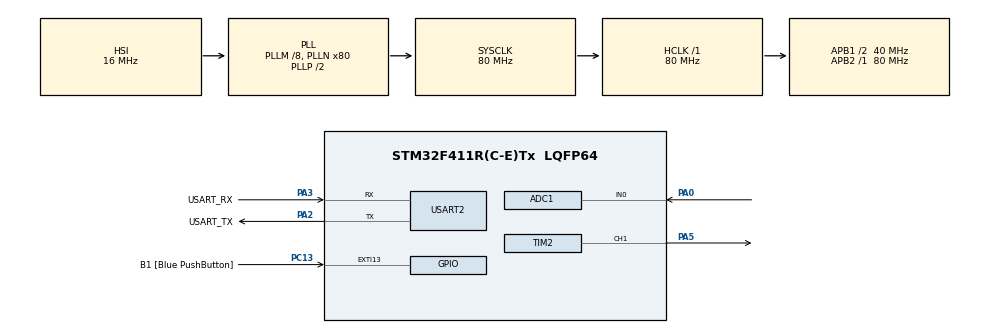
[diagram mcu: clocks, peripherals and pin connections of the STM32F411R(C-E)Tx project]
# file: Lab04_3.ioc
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ADC1.Channel-0\#ChannelRegularConversion=ADC_CHANNEL_0
ADC1.NbrOfConversionFlag=1
ADC1.Rank-0\#ChannelRegularConversion=1
ADC1.SamplingTime-0\#ChannelRegularConversion=ADC_SAMPLETIME_3CYCLES
ADC1.master=1
Mcu.Family=STM32F4
Mcu.Name=STM32F411R(C-E)Tx
Mcu.Package=LQFP64
NVIC.PriorityGroup=NVIC_PRIORITYGROUP_0
PA0-WKUP.Signal=ADCx_IN0
PA13.GPIO_Label=TMS
PA13.Mode=Serial_Wire
PA13.Signal=SYS_JTMS-SWDIO
PA14.GPIO_Label=TCK
PA14.Mode=Serial_Wire
PA14.Signal=SYS_JTCK-SWCLK
PA2.GPIO_Label=USART_TX
PA2.Mode=Asynchronous
PA2.Signal=USART2_TX
PA3.GPIO_Label=USART_RX
PA3.Mode=Asynchronous
PA3.Signal=USART2_RX
PA5.Signal=S_TIM2_CH1_ETR
PB3.GPIO_Label=SWO
PB3.Signal=SYS_JTDO-SWO
PC13-ANTI_TAMP.GPIO_Label=B1 [Blue PushButton]
PC13-ANTI_TAMP.GPIO_ModeDefaultEXTI=GPIO_MODE_IT_FALLING
PC13-ANTI_TAMP.Signal=GPXTI13
PC14-OSC32_IN.Mode=LSE-External-Oscillator
PC14-OSC32_IN.Signal=RCC_OSC32_IN
PC15-OSC32_OUT.Mode=LSE-External-Oscillator
PC15-OSC32_OUT.Signal=RCC_OSC32_OUT
PH0\ -\ OSC_IN.Mode=HSE-External-Clock-Source
PH0\ -\ OSC_IN.Signal=RCC_OSC_IN
PH1\ -\ OSC_OUT.Mode=HSE-External-Clock-Source
PH1\ -\ OSC_OUT.Signal=RCC_OSC_OUT
ProjectManager.HeapSize=0x200
ProjectManager.StackSize=0x400
ProjectManager.TargetToolchain=STM32CubeIDE
RCC.48MHZClocksFreq_Value=40000000
RCC.AHBFreq_Value=80000000
RCC.APB1CLKDivider=RCC_HCLK_DIV2
RCC.APB1Freq_Value=40000000
RCC.APB1TimFreq_Value=80000000
RCC.APB2Freq_Value=80000000
RCC.APB2TimFreq_Value=80000000
RCC.CortexFreq_Value=80000000
RCC.FLatency-AdvancedSettings=FLASH_LATENCY_2
RCC.HCLKFreq_Value=80000000
RCC.HSE_VALUE=8000000
RCC.HSI_VALUE=16000000
RCC.PLLM=8
RCC.PLLN=80
RCC.SYSCLKFreq_VALUE=80000000
RCC.SYSCLKSource=RCC_SYSCLKSOURCE_PLLCLK
RCC.VCOOutputFreq_Value=160000000
SH.ADCx_IN0.0=ADC1_IN0,IN0
SH.S_TIM2_CH1_ETR.0=TIM2_CH1,PWM Generation1 CH1
TIM2.AutoReloadPreload=TIM_AUTORELOAD_PRELOAD_ENABLE
TIM2.Channel-PWM\ Generation1\ CH1=TIM_CHANNEL_1
TIM2.Period=799
TIM2.Prescaler=999
USART2.VirtualMode=VM_ASYNC
VP_TIM2_VS_ClockSourceINT.Mode=Internal
board=NUCLEO-F411RE

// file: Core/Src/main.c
/* USER CODE BEGIN Header */
/**
  ******************************************************************************
  * @file           : main.c
  * @brief          : Main program body
  ******************************************************************************
  * @attention
  *
  * Copyright (c) 2023 STMicroelectronics.
  * All rights reserved.
  *
  * This software is licensed under terms that can be found in the LICENSE file
  * in the root directory of this software component.
  * If no LICENSE file comes with this software, it is provided AS-IS.
  *
  ******************************************************************************
  */
/* USER CODE END Header */
#include "main.h"

ADC_HandleTypeDef hadc1;

TIM_HandleTypeDef htim2;

UART_HandleTypeDef huart2;

void SystemClock_Config(void);
static void MX_GPIO_Init(void);
static void MX_USART2_UART_Init(void);
static void MX_ADC1_Init(void);
static void MX_TIM2_Init(void);

int main(void)
{

  /* MCU Configuration--------------------------------------------------------*/

  /* Reset of all peripherals, Initializes the Flash interface and the Systick. */
  HAL_Init();

  /* Configure the system clock */
  SystemClock_Config();

  /* Initialize all configured peripherals */
  MX_GPIO_Init();
  MX_USART2_UART_Init();
  MX_ADC1_Init();
  MX_TIM2_Init();
  /* USER CODE BEGIN 2 */
  HAL_TIM_PWM_Start(&htim2, TIM_CHANNEL_1);

  int MAX_VAL = 3400;
  int MIN_VAL = 1800;
  int CURR_VAL = 0;
  int PDC = 0;
  int CCR = 0;
  /* USER CODE END 2 */

  /* Infinite loop */
  while (1)
  {

    /* USER CODE BEGIN 3 */
	  HAL_ADC_Start(&hadc1);

	  if (HAL_ADC_PollForConversion(&hadc1, 1000) == HAL_OK) {
		  CURR_VAL = HAL_ADC_GetValue(&hadc1);

		  float C = MAX_VAL - CURR_VAL;
		  float P = MAX_VAL - MIN_VAL;

		  PDC = (1 - (C / P)) * 100;

		  CCR = PDC * 799 / 100;

		  char text[50];

		  sprintf(text, "curr_val_text: %d\t pdc_val_text: %d\r\n", CURR_VAL, PDC);

		  HAL_UART_Transmit(&huart2, text, sizeof(text), 200);

		  TIM2->CCR1 = CCR;
	  }
  }
  /* USER CODE END 3 */
}

void SystemClock_Config(void)
{
  RCC_OscInitTypeDef RCC_OscInitStruct = {0};
  RCC_ClkInitTypeDef RCC_ClkInitStruct = {0};

  /** Configure the main internal regulator output voltage
  */
  __HAL_RCC_PWR_CLK_ENABLE();
  __HAL_PWR_VOLTAGESCALING_CONFIG(PWR_REGULATOR_VOLTAGE_SCALE1);

  /** Initializes the RCC Oscillators according to the specified parameters
  * in the RCC_OscInitTypeDef structure.
  */
  RCC_OscInitStruct.OscillatorType = RCC_OSCILLATORTYPE_HSI;
  RCC_OscInitStruct.HSIState = RCC_HSI_ON;
  RCC_OscInitStruct.HSICalibrationValue = RCC_HSICALIBRATION_DEFAULT;
  RCC_OscInitStruct.PLL.PLLState = RCC_PLL_ON;
  RCC_OscInitStruct.PLL.PLLSource = RCC_PLLSOURCE_HSI;
  RCC_OscInitStruct.PLL.PLLM = 8;
  RCC_OscInitStruct.PLL.PLLN = 80;
  RCC_OscInitStruct.PLL.PLLP = RCC_PLLP_DIV2;
  RCC_OscInitStruct.PLL.PLLQ = 4;
  if (HAL_RCC_OscConfig(&RCC_OscInitStruct) != HAL_OK)
  {
    Error_Handler();
  }

  /** Initializes the CPU, AHB and APB buses clocks
  */
  RCC_ClkInitStruct.ClockType = RCC_CLOCKTYPE_HCLK|RCC_CLOCKTYPE_SYSCLK
                              |RCC_CLOCKTYPE_PCLK1|RCC_CLOCKTYPE_PCLK2;
  RCC_ClkInitStruct.SYSCLKSource = RCC_SYSCLKSOURCE_PLLCLK;
  RCC_ClkInitStruct.AHBCLKDivider = RCC_SYSCLK_DIV1;
  RCC_ClkInitStruct.APB1CLKDivider = RCC_HCLK_DIV2;
  RCC_ClkInitStruct.APB2CLKDivider = RCC_HCLK_DIV1;

  if (HAL_RCC_ClockConfig(&RCC_ClkInitStruct, FLASH_LATENCY_2) != HAL_OK)
  {
    Error_Handler();
  }
}

static void MX_ADC1_Init(void)
{

  ADC_ChannelConfTypeDef sConfig = {0};

  /** Configure the global features of the ADC (Clock, Resolution, Data Alignment and number of conversion)
  */
  hadc1.Instance = ADC1;
  hadc1.Init.ClockPrescaler = ADC_CLOCK_SYNC_PCLK_DIV4;
  hadc1.Init.Resolution = ADC_RESOLUTION_12B;
  hadc1.Init.ScanConvMode = DISABLE;
  hadc1.Init.ContinuousConvMode = DISABLE;
  hadc1.Init.DiscontinuousConvMode = DISABLE;
  hadc1.Init.ExternalTrigConvEdge = ADC_EXTERNALTRIGCONVEDGE_NONE;
  hadc1.Init.ExternalTrigConv = ADC_SOFTWARE_START;
  hadc1.Init.DataAlign = ADC_DATAALIGN_RIGHT;
  hadc1.Init.NbrOfConversion = 1;
  hadc1.Init.DMAContinuousRequests = DISABLE;
  hadc1.Init.EOCSelection = ADC_EOC_SINGLE_CONV;
  if (HAL_ADC_Init(&hadc1) != HAL_OK)
  {
    Error_Handler();
  }

  /** Configure for the selected ADC regular channel its corresponding rank in the sequencer and its sample time.
  */
  sConfig.Channel = ADC_CHANNEL_0;
  sConfig.Rank = 1;
  sConfig.SamplingTime = ADC_SAMPLETIME_3CYCLES;
  if (HAL_ADC_ConfigChannel(&hadc1, &sConfig) != HAL_OK)
  {
    Error_Handler();
  }

}

static void MX_TIM2_Init(void)
{

  TIM_ClockConfigTypeDef sClockSourceConfig = {0};
  TIM_MasterConfigTypeDef sMasterConfig = {0};
  TIM_OC_InitTypeDef sConfigOC = {0};

  htim2.Instance = TIM2;
  htim2.Init.Prescaler = 999;
  htim2.Init.CounterMode = TIM_COUNTERMODE_UP;
  htim2.Init.Period = 799;
  htim2.Init.ClockDivision = TIM_CLOCKDIVISION_DIV1;
  htim2.Init.AutoReloadPreload = TIM_AUTORELOAD_PRELOAD_ENABLE;
  if (HAL_TIM_Base_Init(&htim2) != HAL_OK)
  {
    Error_Handler();
  }
  sClockSourceConfig.ClockSource = TIM_CLOCKSOURCE_INTERNAL;
  if (HAL_TIM_ConfigClockSource(&htim2, &sClockSourceConfig) != HAL_OK)
  {
    Error_Handler();
  }
  if (HAL_TIM_PWM_Init(&htim2) != HAL_OK)
  {
    Error_Handler();
  }
  sMasterConfig.MasterOutputTrigger = TIM_TRGO_RESET;
  sMasterConfig.MasterSlaveMode = TIM_MASTERSLAVEMODE_DISABLE;
  if (HAL_TIMEx_MasterConfigSynchronization(&htim2, &sMasterConfig) != HAL_OK)
  {
    Error_Handler();
  }
  sConfigOC.OCMode = TIM_OCMODE_PWM1;
  sConfigOC.Pulse = 0;
  sConfigOC.OCPolarity = TIM_OCPOLARITY_HIGH;
  sConfigOC.OCFastMode = TIM_OCFAST_DISABLE;
  if (HAL_TIM_PWM_ConfigChannel(&htim2, &sConfigOC, TIM_CHANNEL_1) != HAL_OK)
  {
    Error_Handler();
  }
  HAL_TIM_MspPostInit(&htim2);

}

static void MX_USART2_UART_Init(void)
{

  huart2.Instance = USART2;
  huart2.Init.BaudRate = 115200;
  huart2.Init.WordLength = UART_WORDLENGTH_8B;
  huart2.Init.StopBits = UART_STOPBITS_1;
  huart2.Init.Parity = UART_PARITY_NONE;
  huart2.Init.Mode = UART_MODE_TX_RX;
  huart2.Init.HwFlowCtl = UART_HWCONTROL_NONE;
  huart2.Init.OverSampling = UART_OVERSAMPLING_16;
  if (HAL_UART_Init(&huart2) != HAL_OK)
  {
    Error_Handler();
  }

}

static void MX_GPIO_Init(void)
{
  GPIO_InitTypeDef GPIO_InitStruct = {0};

  /* GPIO Ports Clock Enable */
  __HAL_RCC_GPIOC_CLK_ENABLE();
  __HAL_RCC_GPIOH_CLK_ENABLE();
  __HAL_RCC_GPIOA_CLK_ENABLE();
  __HAL_RCC_GPIOB_CLK_ENABLE();

  /*Configure GPIO pin : B1_Pin */
  GPIO_InitStruct.Pin = B1_Pin;
  GPIO_InitStruct.Mode = GPIO_MODE_IT_FALLING;
  GPIO_InitStruct.Pull = GPIO_NOPULL;
  HAL_GPIO_Init(B1_GPIO_Port, &GPIO_InitStruct);

}

void Error_Handler(void)
{
  __disable_irq();
  while (1)
  {
  }
}
